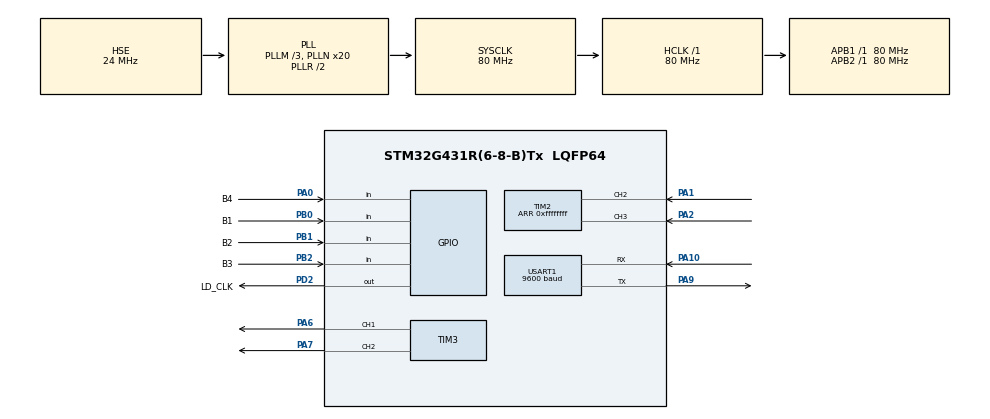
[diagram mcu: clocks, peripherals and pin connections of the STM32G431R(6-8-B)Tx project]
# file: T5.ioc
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Mcu.Family=STM32G4
Mcu.Name=STM32G431R(6-8-B)Tx
Mcu.Package=LQFP64
NVIC.PriorityGroup=NVIC_PRIORITYGROUP_4
NVIC.TIM2_IRQn=true\:0\:0\:false\:false\:true\:true\:true
NVIC.TIM4_IRQn=true\:0\:0\:false\:false\:true\:true\:true
NVIC.USART1_IRQn=true\:0\:0\:false\:false\:true\:true\:true
PA0.GPIO_Label=B4
PA0.Signal=GPIO_Input
PA1.Signal=S_TIM2_CH2
PA10.Mode=Asynchronous
PA10.Signal=USART1_RX
PA2.Signal=S_TIM2_CH3
PA6.Signal=S_TIM3_CH1
PA7.Signal=S_TIM3_CH2
PA9.Mode=Asynchronous
PA9.Signal=USART1_TX
PB0.GPIO_Label=B1
PB0.Signal=GPIO_Input
PB1.GPIO_Label=B2
PB1.Signal=GPIO_Input
PB2.GPIO_Label=B3
PB2.Signal=GPIO_Input
PD2.GPIO_Label=LD_CLK
PD2.Signal=GPIO_Output
PF0-OSC_IN.Mode=HSE-External-Oscillator
PF0-OSC_IN.Signal=RCC_OSC_IN
PF1-OSC_OUT.Mode=HSE-External-Oscillator
PF1-OSC_OUT.Signal=RCC_OSC_OUT
ProjectManager.HeapSize=0x200
ProjectManager.StackSize=0x400
ProjectManager.TargetToolchain=MDK-ARM V5.27
RCC.ADC12Freq_Value=80000000
RCC.AHBFreq_Value=80000000
RCC.APB1Freq_Value=80000000
RCC.APB1TimFreq_Value=80000000
RCC.APB2Freq_Value=80000000
RCC.APB2TimFreq_Value=80000000
RCC.CortexFreq_Value=80000000
RCC.EXTERNAL_CLOCK_VALUE=12288000
RCC.HCLKFreq_Value=80000000
RCC.HSE_VALUE=24000000
RCC.HSI48_VALUE=48000000
RCC.HSI_VALUE=16000000
RCC.LSE_VALUE=32768
RCC.PLLM=RCC_PLLM_DIV3
RCC.PLLN=20
RCC.PLLSourceVirtual=RCC_PLLSOURCE_HSE
RCC.SYSCLKFreq_VALUE=80000000
RCC.SYSCLKSource=RCC_SYSCLKSOURCE_PLLCLK
RCC.USBFreq_Value=80000000
RCC.VCOOutputFreq_Value=160000000
SH.S_TIM2_CH2.0=TIM2_CH2,Input_Capture2_from_TI2
SH.S_TIM2_CH3.0=TIM2_CH3,Input_Capture3_from_TI3
SH.S_TIM3_CH1.0=TIM3_CH1,PWM Generation1 CH1
SH.S_TIM3_CH2.0=TIM3_CH2,PWM Generation2 CH2
TIM2.Channel-Input_Capture2_from_TI2=TIM_CHANNEL_2
TIM2.Channel-Input_Capture3_from_TI3=TIM_CHANNEL_3
TIM2.PeriodNoDither=0xffffffff
TIM3.Channel-PWM\ Generation1\ CH1=TIM_CHANNEL_1
TIM3.Channel-PWM\ Generation2\ CH2=TIM_CHANNEL_2
TIM4.PeriodNoDither=1000-1
TIM4.Prescaler=80-1
USART1.BaudRate=9600
USART1.VirtualMode-Asynchronous=VM_ASYNC
VP_SYS_VS_DBSignals.Mode=DisableDeadBatterySignals
VP_TIM2_VS_ClockSourceINT.Mode=Internal
VP_TIM3_VS_ClockSourceINT.Mode=Internal
VP_TIM4_VS_ClockSourceINT.Mode=Internal
board=custom

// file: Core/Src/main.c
/* USER CODE BEGIN Header */
/**
  ******************************************************************************
  * @file           : main.c
  * @brief          : Main program body
  ******************************************************************************
  * @attention
  *
  * <h2><center>&copy; Copyright (c) 2021 STMicroelectronics.
  * All rights reserved.</center></h2>
  *
  * This software component is licensed by ST under BSD 3-Clause license,
  * the "License"; You may not use this file except in compliance with the
  * License. You may obtain a copy of the License at:
  *                        opensource.org/licenses/BSD-3-Clause
  *
  ******************************************************************************
  */
/* USER CODE END Header */
#include "main.h"
#include "tim.h"
#include "usart.h"
#include "gpio.h"

/* USER CODE BEGIN Includes */
#include "stdio.h"
#include "string.h"
#include "lcd.h"
#include "i2c.h"
/* USER CODE END Includes */

/* USER CODE BEGIN PD */
#define LOCAL_MODEL 0
#define SERIAL_MODEL 1
/* USER CODE END PD */

/* USER CODE BEGIN PM */
#define KB1 HAL_GPIO_ReadPin(B1_GPIO_Port, B1_Pin)
#define KB2 HAL_GPIO_ReadPin(B2_GPIO_Port, B2_Pin)
#define KB3 HAL_GPIO_ReadPin(B3_GPIO_Port, B3_Pin)
#define KB4 HAL_GPIO_ReadPin(B4_GPIO_Port, B4_Pin)
/* USER CODE END PM */

/* USER CODE BEGIN PV */
_Bool rx_Flag = 0;//串口的标志位
_Bool rx_er_Flag = 0;//串口接收错误的标志位
_Bool Key_Flag = 0;
uint16_t Led_Val;
uint32_t C1_Val;//Period(s) = Diff捕获差值 / TIMx_CLK定时器时钟 * (PSC预分频系数 + 1)
								//Freq(Hz)  = TIMx_CLK / (Diff * (PSC + 1))
								//CCRx_1 < CCRx_2 捕获差值 = CCRx_2 - CCRx_1
								//CCRx_1 > CCRx_2 捕获差值 = (ARR + 1 - CCRx_1) + CCRx_2
uint8_t N1_Val = 2;//倍频数，在1到9之间，默认为2
uint32_t C2_Val;
uint8_t N2_Val = 2;
uint8_t Current_Channel = 1;
_Bool Setting_Model = 0;
uint8_t rx_buf[8];
/* USER CODE END PV */

void SystemClock_Config(void);

/* USER CODE BEGIN 0 */
int fputc(int ch, FILE *f)
{
	HAL_UART_Transmit(&huart1, (uint8_t *)&ch, 1, HAL_MAX_DELAY);
	return ch;
}
uint8_t ee_read(uint8_t address)
{
	uint8_t val;
	I2CStart();
	I2CSendByte(0xa0);
	I2CWaitAck();

	I2CSendByte(address);
	I2CWaitAck();

	I2CStart();
	I2CSendByte(0xa1);
	I2CWaitAck();
	val = I2CReceiveByte();
	I2CWaitAck();
	I2CStop();
	return val;
}

void ee_write(uint8_t address, uint8_t val)
{
	I2CStart();
  I2CSendByte(0xa0);
  I2CWaitAck();

  I2CSendByte(address);
  I2CWaitAck();

  I2CSendByte(val);
  I2CWaitAck();
  I2CStop();
}

//控制LED
void TurnOff_LEDS()
{
	Led_Val = 0xFF00;
	HAL_GPIO_WritePin(LD_CLK_GPIO_Port, LD_CLK_Pin, GPIO_PIN_SET);
	GPIOC->ODR = (uint32_t)Led_Val;
	HAL_GPIO_WritePin(LD_CLK_GPIO_Port, LD_CLK_Pin, GPIO_PIN_RESET);
}
void TurnOn_LED(uint8_t i)
{
	Led_Val &= ~(0x01<<(i+7));
	HAL_GPIO_WritePin(LD_CLK_GPIO_Port, LD_CLK_Pin, GPIO_PIN_SET);
	GPIOC->ODR = (uint32_t)Led_Val;
	HAL_GPIO_WritePin(LD_CLK_GPIO_Port, LD_CLK_Pin, GPIO_PIN_RESET);
}
void TurnOff_LED(uint8_t i)
{
	Led_Val |= (0x01<<(i+7));
	HAL_GPIO_WritePin(LD_CLK_GPIO_Port, LD_CLK_Pin, GPIO_PIN_SET);
	GPIOC->ODR = (uint32_t)Led_Val;
	HAL_GPIO_WritePin(LD_CLK_GPIO_Port, LD_CLK_Pin, GPIO_PIN_RESET);
}

void Display_Proc()
{
	uint8_t buf[30];
	sprintf((char *)buf, "Channel(1): %-dHz        ", C1_Val);
	LCD_DisplayStringLine(Line2, buf);

	sprintf((char *)buf, "N(1): %d  ", N1_Val);
	LCD_DisplayStringLine(Line4, buf);

	sprintf((char *)buf, "Channel(2): %-dHz        ", C2_Val);
	LCD_DisplayStringLine(Line6, buf);

	sprintf((char *)buf, "N(2): %d  ", N2_Val);
	LCD_DisplayStringLine(Line8, buf);

	sprintf((char *)buf, "                 %d", Current_Channel);
	LCD_DisplayStringLine(Line9, buf);
}

void Key_Proc()
{
	//按键1 切换设定模式
	static uint8_t b1_sum;
	if(KB1 == 0)
	{
		b1_sum++;
		if(b1_sum == 1)
		{
			Setting_Model = !Setting_Model;
		}
	}
	if(KB1 == 1)
	{
		b1_sum = 0;
	}

	//按键2 切换通道
	static uint8_t b2_sum;
	if(KB2 == 0)
	{
		b2_sum++;
		if(b2_sum == 1 && Setting_Model == LOCAL_MODEL)
		{
			Current_Channel = Current_Channel % 2 + 1;
		}
	}
	if(KB2 == 1)
	{
		b2_sum = 0;
	}

	//按键3 当前通道倍数减1
	static uint8_t b3_sum;
	if(KB3 == 0)
	{
		b3_sum++;
		if(b3_sum == 1)
		{
			if(Setting_Model == LOCAL_MODEL)
			{
				switch(Current_Channel)
				{
					case 1:
					{
						if(N1_Val > 1)
						{
							N1_Val--;
							ee_write(0x01, N1_Val);
						}
					}
						break;
					case 2:
					{
						if(N2_Val > 1)
						{
							N2_Val--;
							ee_write(0x02, N2_Val);
						}
					}
						break;
				}
			}
		}
	}
	if(KB3 == 1)
	{
		b3_sum = 0;
	}

	//按键4 当前通道倍数加1
	static uint8_t b4_sum;
	if(KB4 == 0)
	{
		b4_sum++;
		if(b4_sum == 1)
		{
			if(Setting_Model == LOCAL_MODEL)
			{
				switch(Current_Channel)
				{
					case 1:
					{
						if(N1_Val < 10)
						{
							N1_Val++;
							ee_write(0x01, N1_Val);
						}
					}
						break;
					case 2:
					{
						if(N2_Val < 10)
						{
							N2_Val++;
							ee_write(0x02, N2_Val);
						}
					}
						break;
				}
			}
		}
	}
	if(KB4 == 1)
	{
		b4_sum = 0;
	}
}
/* USER CODE END 0 */

int main(void)
{

  /* MCU Configuration--------------------------------------------------------*/

  /* Reset of all peripherals, Initializes the Flash interface and the Systick. */
  HAL_Init();

  /* Configure the system clock */
  SystemClock_Config();

  /* Initialize all configured peripherals */
  MX_GPIO_Init();
  MX_TIM4_Init();
  MX_USART1_UART_Init();
  MX_TIM2_Init();
  MX_TIM3_Init();
  /* USER CODE BEGIN 2 */
	I2CInit();
	if(ee_read(0x20) == 'T' && ee_read(0x21) == '5')
	{
		N1_Val = ee_read(0x01);
		N2_Val = ee_read(0x02);
	}else{
		ee_write(0x20, 'T');
		HAL_Delay(5);
		ee_write(0x21, '5');
		HAL_Delay(5);
		ee_write(0x01, 2);
		HAL_Delay(5);
		ee_write(0x02, 2);
		HAL_Delay(5);
	}
	//启动定时器
	HAL_TIM_Base_Start_IT(&htim4);
	//开启中断接收
	HAL_UART_Receive_IT(&huart1, rx_buf, 8);
	//初始化LCD
	LCD_Init();
	LCD_Clear(White);
	LCD_SetBackColor(White);
	LCD_SetTextColor(Black);
	TurnOff_LEDS();

	HAL_TIM_IC_Start_IT(&htim2, TIM_CHANNEL_2);
	HAL_TIM_IC_Start_IT(&htim2, TIM_CHANNEL_3);
  /* USER CODE END 2 */

  /* Infinite loop */
  /* USER CODE BEGIN WHILE */
  while (1)
  {
		Display_Proc();
    /* USER CODE END WHILE */

    /* USER CODE BEGIN 3 */
		if(rx_Flag)
		{
			rx_Flag = 0;
			uint8_t N_Val;
			if(rx_buf[4] == '1' || rx_buf[4] == '2')
			{
				N_Val = (rx_buf[6] - '0') * 10 + (rx_buf[7] - '0');
				if(N_Val >= 2 && N_Val <= 10)
				{
					switch(rx_buf[4])
					{
						case '1':
							Current_Channel = 1;
							N1_Val = N_Val;
							break;
						case '2':
							Current_Channel = 2;
							N2_Val = N_Val;
							break;
					}
				}
			}
		}
		if(rx_er_Flag)
		{
			rx_er_Flag = 0;
			memset(rx_buf, 0, sizeof(rx_buf));
		}
		if(Key_Flag)
		{
			Key_Flag = 0;
			Key_Proc();
		}
		//指示灯1和2
		switch(Current_Channel)
		{
			case 1:
			{
				TurnOn_LED(1);
				TurnOff_LED(2);
				__HAL_TIM_SET_COUNTER(&htim2,0);
				if(C1_Val < 50 || C1_Val > 50000)
				{
					__HAL_TIM_SET_COMPARE(&htim2, TIM_CHANNEL_2, 0);
				}else{
					__HAL_TIM_SET_COMPARE(&htim2, TIM_CHANNEL_2, HAL_RCC_GetPCLK2Freq()/C1_Val*N1_Val/2);
				}
				__HAL_TIM_SET_COMPARE(&htim2, TIM_CHANNEL_3, 0);
				__HAL_TIM_SET_AUTORELOAD(&htim2, HAL_RCC_GetPCLK2Freq()/C1_Val*N1_Val);
			}
				break;
			case 2:
			{
				TurnOff_LED(1);
				TurnOn_LED(2);
				__HAL_TIM_SET_COMPARE(&htim2, TIM_CHANNEL_2, 0);
				if(C2_Val < 50 || C2_Val > 50000)
				{
					__HAL_TIM_SET_COMPARE(&htim2, TIM_CHANNEL_3, 0);
				}else{
					__HAL_TIM_SET_COMPARE(&htim2, TIM_CHANNEL_3, HAL_RCC_GetPCLK2Freq()/C2_Val*N2_Val/2);
				}

				__HAL_TIM_SET_AUTORELOAD(&htim2, HAL_RCC_GetPCLK2Freq()/C2_Val*N2_Val);
			}
				break;
		}
		//指示灯3
		if(Setting_Model == SERIAL_MODEL)
		{
			TurnOn_LED(3);
		}else if(Setting_Model == LOCAL_MODEL)
		{
			TurnOff_LED(3);
		}
  }
  /* USER CODE END 3 */
}

void SystemClock_Config(void)
{
  RCC_OscInitTypeDef RCC_OscInitStruct = {0};
  RCC_ClkInitTypeDef RCC_ClkInitStruct = {0};
  RCC_PeriphCLKInitTypeDef PeriphClkInit = {0};

  /** Configure the main internal regulator output voltage
  */
  HAL_PWREx_ControlVoltageScaling(PWR_REGULATOR_VOLTAGE_SCALE1);
  /** Initializes the RCC Oscillators according to the specified parameters
  * in the RCC_OscInitTypeDef structure.
  */
  RCC_OscInitStruct.OscillatorType = RCC_OSCILLATORTYPE_HSE;
  RCC_OscInitStruct.HSEState = RCC_HSE_ON;
  RCC_OscInitStruct.PLL.PLLState = RCC_PLL_ON;
  RCC_OscInitStruct.PLL.PLLSource = RCC_PLLSOURCE_HSE;
  RCC_OscInitStruct.PLL.PLLM = RCC_PLLM_DIV3;
  RCC_OscInitStruct.PLL.PLLN = 20;
  RCC_OscInitStruct.PLL.PLLP = RCC_PLLP_DIV2;
  RCC_OscInitStruct.PLL.PLLQ = RCC_PLLQ_DIV2;
  RCC_OscInitStruct.PLL.PLLR = RCC_PLLR_DIV2;
  if (HAL_RCC_OscConfig(&RCC_OscInitStruct) != HAL_OK)
  {
    Error_Handler();
  }
  /** Initializes the CPU, AHB and APB buses clocks
  */
  RCC_ClkInitStruct.ClockType = RCC_CLOCKTYPE_HCLK|RCC_CLOCKTYPE_SYSCLK
                              |RCC_CLOCKTYPE_PCLK1|RCC_CLOCKTYPE_PCLK2;
  RCC_ClkInitStruct.SYSCLKSource = RCC_SYSCLKSOURCE_PLLCLK;
  RCC_ClkInitStruct.AHBCLKDivider = RCC_SYSCLK_DIV1;
  RCC_ClkInitStruct.APB1CLKDivider = RCC_HCLK_DIV1;
  RCC_ClkInitStruct.APB2CLKDivider = RCC_HCLK_DIV1;

  if (HAL_RCC_ClockConfig(&RCC_ClkInitStruct, FLASH_LATENCY_2) != HAL_OK)
  {
    Error_Handler();
  }
  /** Initializes the peripherals clocks
  */
  PeriphClkInit.PeriphClockSelection = RCC_PERIPHCLK_USART1;
  PeriphClkInit.Usart1ClockSelection = RCC_USART1CLKSOURCE_PCLK2;
  if (HAL_RCCEx_PeriphCLKConfig(&PeriphClkInit) != HAL_OK)
  {
    Error_Handler();
  }
}

/* USER CODE BEGIN 4 */
void HAL_UART_RxCpltCallback(UART_HandleTypeDef *huart)
{
	if(huart->Instance == USART1 && Setting_Model == SERIAL_MODEL)
	{
		if(rx_buf[0] == 'S' && rx_buf[1] == 'E' && rx_buf[2] == 'T')
		{
			if(rx_buf[3] == ':' && rx_buf[5] == ':')
			{
				rx_Flag = 1;
			}else{
				//返回错误的标志位
				rx_er_Flag = 1;
			}
		}else{
			//返回错误的标志位
			rx_er_Flag = 1;
		}
	}
	HAL_UART_Receive_IT(&huart1, rx_buf, 8);
}

void HAL_TIM_PeriodElapsedCallback(TIM_HandleTypeDef *htim)
{
	static uint8_t key_count;
	if(htim->Instance == TIM4)
	{
		if(++key_count == 10)
		{
			key_count = 0;
			Key_Flag = 1;
		}
	}
	HAL_TIM_Base_Start_IT(&htim4);
}
uint32_t IC2_Value1_1, IC2_Value2_1, uwDiffCapture_1;
uint32_t IC2_Value1_2, IC2_Value2_2, uwDiffCapture_2;
void HAL_TIM_IC_CaptureCallback(TIM_HandleTypeDef *htim)
{
	static uint8_t CaptureIndex_1;
	static uint8_t CaptureIndex_2;
	if(htim->Channel == HAL_TIM_ACTIVE_CHANNEL_2)
	{
		if(CaptureIndex_1 == 0)
		{
			IC2_Value1_1 = HAL_TIM_ReadCapturedValue(&htim2, TIM_CHANNEL_2);
			CaptureIndex_1 = 1;
		}
		else if(CaptureIndex_1 == 1)
		{
			IC2_Value2_1 = HAL_TIM_ReadCapturedValue(&htim2, TIM_CHANNEL_2);
			if (IC2_Value2_1 > IC2_Value1_1)
			{
				uwDiffCapture_1 = (IC2_Value2_1 - IC2_Value1_1);
			}
			else if (IC2_Value2_1 < IC2_Value1_1)
			{
				uwDiffCapture_1 = ((0xffffffff - IC2_Value1_1) + IC2_Value2_1) + 1;
			}
			C1_Val = HAL_RCC_GetPCLK2Freq() / uwDiffCapture_1;
			CaptureIndex_1 = 0;
		}
	}else if(htim->Channel == HAL_TIM_ACTIVE_CHANNEL_3){
		if(CaptureIndex_2 == 0)
		{
			IC2_Value1_2 = HAL_TIM_ReadCapturedValue(&htim2, TIM_CHANNEL_3);
			CaptureIndex_2 = 1;
		}
		else if(CaptureIndex_2 == 1)
		{
			IC2_Value2_2 = HAL_TIM_ReadCapturedValue(&htim2, TIM_CHANNEL_3);
			if (IC2_Value2_2 > IC2_Value1_2)
			{
				uwDiffCapture_2 = (IC2_Value2_2 - IC2_Value1_2);
			}
			else if (IC2_Value2_2 < IC2_Value1_2)
			{
				uwDiffCapture_2 = ((0xffffffff - IC2_Value1_2) + IC2_Value2_2) + 1;
			}
			C2_Val = HAL_RCC_GetPCLK2Freq() / uwDiffCapture_2;
			CaptureIndex_2 = 0;
		}
	}
	HAL_TIM_IC_Start_IT(&htim2, TIM_CHANNEL_2);
	HAL_TIM_IC_Start_IT(&htim2, TIM_CHANNEL_3);
}
/* USER CODE END 4 */

void Error_Handler(void)
{
  __disable_irq();
  while (1)
  {
  }
}

/************************ (C) COPYRIGHT STMicroelectronics *****END OF FILE****/
